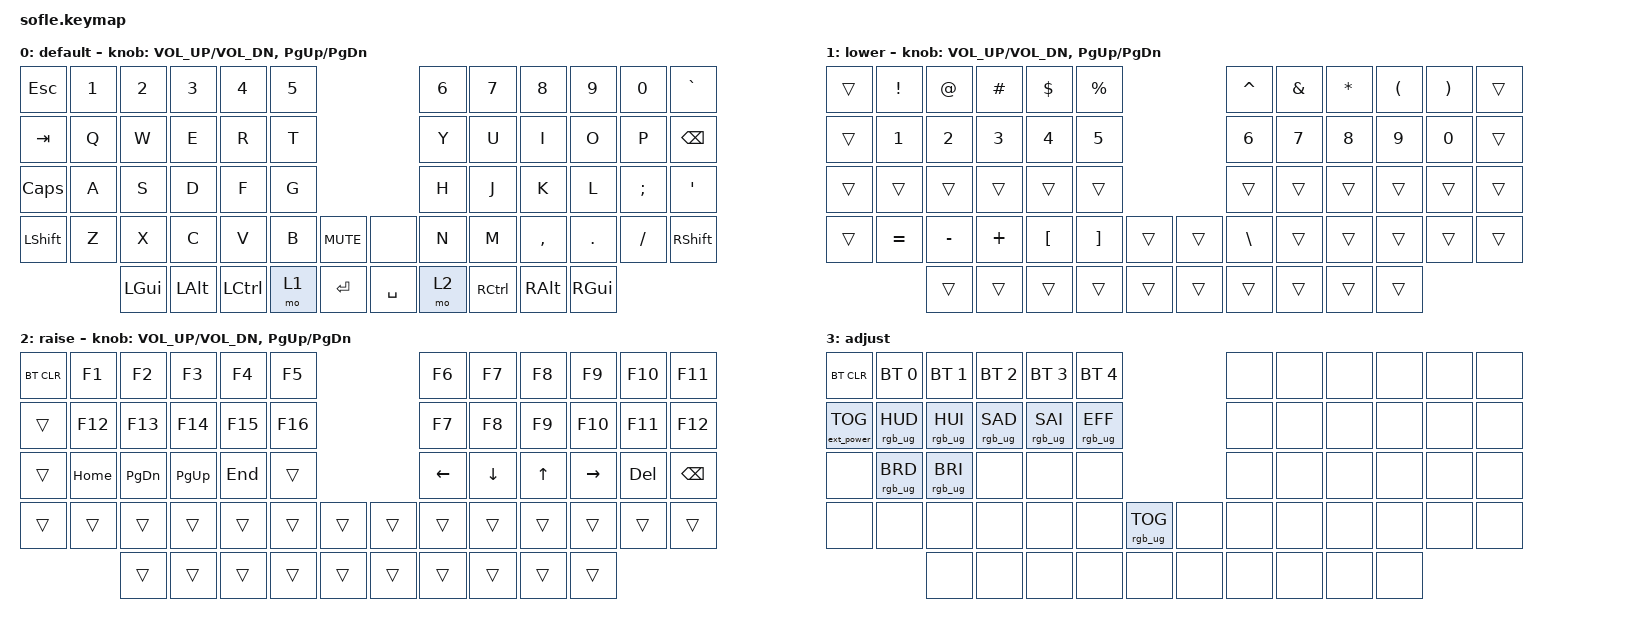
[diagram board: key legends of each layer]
/*
 * Copyright (c) 2020 The ZMK Contributors
 *
 * SPDX-License-Identifier: MIT
 */

#include <behaviors.dtsi>
#include <dt-bindings/zmk/keys.h>
#include <dt-bindings/zmk/bt.h>
#include <dt-bindings/zmk/rgb.h>
#include <dt-bindings/zmk/ext_power.h>

#define BASE 0
#define LOWER 1
#define RAISE 2
#define ADJUST 3

/ {

   // Activate ADJUST layer by pressing raise and lower
    conditional_layers {
        compatible = "zmk,conditional-layers";
        adjust_layer {
            if-layers = <LOWER RAISE>;
            then-layer = <ADJUST>;
        };
    };

    keymap {
        compatible = "zmk,keymap";

        default_layer {
            display-name = "default";
// ------------------------------------------------------------------------------------------------------------
// |  ESC  |  1  |  2  |  3   |  4   |  5   |                   |  6   |  7    |  8    |  9   |   0   |   `   |
// |  TAB  |  Q  |  W  |  E   |  R   |  T   |                   |  Y   |  U    |  I    |  O   |   P   | BKSPC |
// | CAPS  |  A  |  S  |  D   |  F   |  G   |                   |  H   |  J    |  K    |  L   |   ;   |   '   |
// | SHIFT |  Z  |  X  |  C   |  V   |  B   |  MUTE  |  |       |  N   |  M    |  ,    |  .   |   /   | SHIFT |
//               | CMD | OPT  | CTRL | LOWER|  ENTER |  | SPACE | RAISE| CTRL  | OPT   | CMD  |
            bindings = <
&kp ESC   &kp N1 &kp N2   &kp N3   &kp N4    &kp N5                           &kp N6 &kp N7    &kp N8    &kp N9   &kp N0   &kp GRAVE
&kp TAB   &kp Q  &kp W    &kp E    &kp R     &kp T                            &kp Y  &kp U     &kp I     &kp O    &kp P    &kp BSPC
&kp CLCK  &kp A  &kp S    &kp D    &kp F     &kp G                            &kp H  &kp J     &kp K     &kp L    &kp SEMI &kp SQT
&kp LSHFT &kp Z  &kp X    &kp C    &kp V     &kp B      &kp C_MUTE &none      &kp N  &kp M     &kp COMMA &kp DOT  &kp FSLH &kp RSHFT
                 &kp LGUI &kp LALT &kp LCTRL &mo 1  &kp RET    &kp SPACE  &mo 2  &kp RCTRL &kp RALT  &kp RGUI
            >;

            // Left encoder: Volume control
            // Right encoder: Page up/down
            sensor-bindings = <&inc_dec_kp C_VOL_UP C_VOL_DN &inc_dec_kp PG_UP PG_DN>;
        };

        lower_layer {
            display-name = "lower";
// ------------------------------------------------------------------------------------------------------------
// |       |  !  |  @  |  #   |  $   |  %   |                   |  ^   |  &    |  *    |  (   |   )   |       |
// |       |  1  |  2  |  3   |  4   |  5   |                   |  6   |  7    |  8    |  9   |   0   |       |
// |       |     |     |      |      |      |                   |      |       |       |      |       |       |
// |       |  =  |  -  |  +   |  [   |  ]   |        |  |       |  \   |       |       |      |       |       |
//               |     |      |      |      |        |  |       |      |       |       |      |
            bindings = <
&trans    &kp EXCL  &kp AT    &kp HASH    &kp DLLR  &kp PRCNT                 &kp CARET &kp AMPS &kp ASTRK &kp LPAR  &kp RPAR  &trans
&trans    &kp N1    &kp N2    &kp N3      &kp N4    &kp N5                    &kp N6    &kp N7   &kp N8    &kp N9    &kp N0    &trans
&trans    &trans    &trans    &trans      &trans    &trans                    &trans    &trans   &trans    &trans    &trans    &trans
&trans    &kp EQUAL &kp MINUS &kp PLUS    &kp LBKT  &kp RBKT   &trans &trans  &kp BSLH  &trans   &trans    &trans    &trans    &trans
                    &trans    &trans      &trans    &trans     &trans &trans  &trans    &trans   &trans    &trans
            >;

            sensor-bindings = <&inc_dec_kp C_VOL_UP C_VOL_DN &inc_dec_kp PG_UP PG_DN>;
        };

        raise_layer {
            display-name = "raise";
// ------------------------------------------------------------------------------------------------------------
// | BTCLR |  F1 |  F2 |  F3  |  F4  |  F5  |                   |  F6  |  F7   |  F8   |  F9  |  F10  |  F11  |
// |       |  F2 |  F3 |  F4  |  F5  |  F6  |                   |  F7  |  F8   |  F9   | F10 |  F11  |  F12  |
// |       | HOME| PGDN| PGUP | END  |      |                   | LEFT | DOWN  |  UP   | RIGHT|  DEL  | BKSPC |
// |       |     |     |      |      |      |      |  |      |      |      |       |      |       |       |
//               |     |      |      |      |      |  |      |      |      |       |      |
            bindings = <
&bt BT_CLR &kp F1    &kp F2    &kp F3      &kp F4    &kp F5                    &kp F6    &kp F7   &kp F8    &kp F9    &kp F10   &kp F11
&trans     &kp F12   &kp F13   &kp F14     &kp F15   &kp F16                   &kp F7    &kp F8   &kp F9    &kp F10   &kp F11   &kp F12
&trans     &kp HOME  &kp PG_DN &kp PG_UP   &kp END   &trans                     &kp LEFT  &kp DOWN &kp UP    &kp RIGHT &kp DEL   &kp BSPC
&trans     &trans    &trans    &trans      &trans    &trans        &trans &trans  &trans    &trans   &trans    &trans    &trans   &trans
                        &trans    &trans      &trans    &trans        &trans &trans  &trans    &trans   &trans    &trans
            >;

            sensor-bindings = <&inc_dec_kp C_VOL_UP C_VOL_DN &inc_dec_kp PG_UP PG_DN>;
        };

        adjust_layer {
// ----------------------------------------------------------------------------------------------------------------------------
// | BTCLR  |  BT1    |  BT2    |   BT3   |   BT4   |   BT5   |                  |      |      |       |      |       |       |
// | EXTPWR | RGB_HUD | RGB_HUI | RGB_SAD | RGB_SAI | RGB_EFF |                  |      |      |       |      |       |       |
// |        | RGB_BRD | RGB_BRI |         |         |         |                  |      |      |       |      |       |       |
// |        |         |         |         |         |         | RGB_TOG | |      |      |      |       |      |       |       |
//                    |         |         |         |         |         | |      |      |      |       |      |
            display-name = "adjust";
            bindings = <
&bt BT_CLR        &bt BT_SEL 0    &bt BT_SEL 1    &bt BT_SEL 2    &bt BT_SEL 3    &bt BT_SEL 4                            &none &none &none &none &none &none
&ext_power EP_TOG &rgb_ug RGB_HUD &rgb_ug RGB_HUI &rgb_ug RGB_SAD &rgb_ug RGB_SAI &rgb_ug RGB_EFF                         &none &none &none &none &none &none
&none             &rgb_ug RGB_BRD &rgb_ug RGB_BRI &none           &none           &none                                   &none &none &none &none &none &none
&none             &none           &none           &none           &none           &none            &rgb_ug RGB_TOG &none  &none &none &none &none &none &none
                                  &none           &none           &none           &none            &none           &none  &none &none &none &none
            >;
        };

        extra1 {
            status = "reserved";
        };

        extra2 {
            status = "reserved";
        };
    };
};
